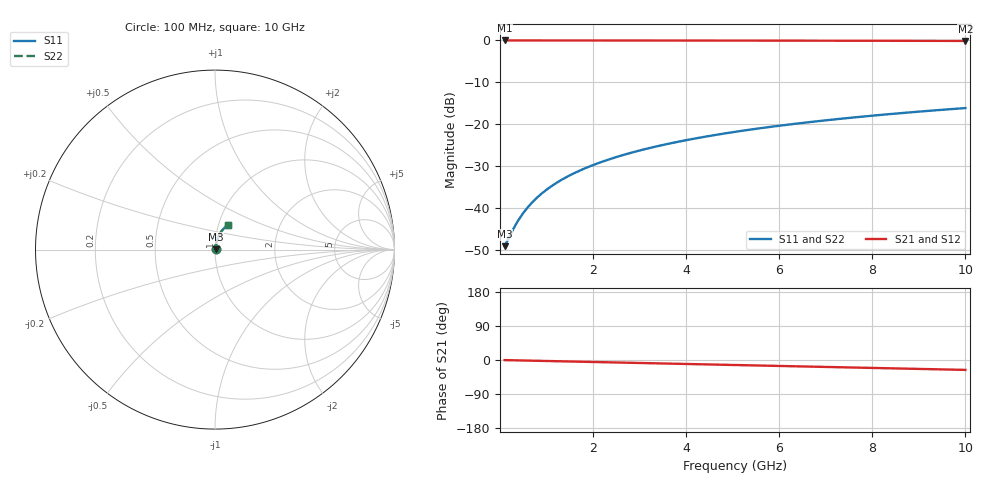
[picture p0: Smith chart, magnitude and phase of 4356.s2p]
# Hz S RI R 50.00
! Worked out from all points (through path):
!   100 points, 100 MHz to 10 GHz, reference 50 ohm
!   highest |S21| = -0.03 dB at 100 MHz (marker M1); lowest = -0.1 dB at 10 GHz (marker M2)
!   group delay of S21, straight-line fit = 7.26 ps
!   lowest |S11| = -49.2 dB at 100 MHz (marker M3), VSWR 1.01, Z = 50.3 + j0.161 ohm
!   |S11| at or under -10 dB: start of sweep to end of sweep
!   |S22| runs from -49.2 to -16.2 dB; largest |S21 - S12| = 0
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1e8  0.0031 0.0016  0.9969 -0.00456  0.9969 -0.00456  0.0031 0.0016
3e8  0.00319 0.0048  0.9968 -0.0137  0.9968 -0.0137  0.00319 0.0048
4e8  0.00325 0.0064  0.9967 -0.0182  0.9967 -0.0182  0.00325 0.0064
5e8  0.00333 0.008  0.9965 -0.0228  0.9965 -0.0228  0.00333 0.008
6e8  0.00342 0.0096  0.9964 -0.0273  0.9964 -0.0273  0.00342 0.0096
7e8  0.00352 0.0112  0.9962 -0.0319  0.9962 -0.0319  0.00352 0.0112
9e8  0.00376 0.0144  0.9959 -0.041  0.9959 -0.041  0.00376 0.0144
1e9  0.00391 0.016  0.9956 -0.0455  0.9956 -0.0455  0.00391 0.016
1.2e9  0.00424 0.0192  0.9951 -0.0546  0.9951 -0.0546  0.00424 0.0192
1.5e9  0.00485 0.0239  0.9941 -0.0683  0.9941 -0.0683  0.00485 0.0239
1.8e9  0.00558 0.0287  0.993 -0.0819  0.993 -0.0819  0.00558 0.0287
2.1e9  0.00644 0.0334  0.9916 -0.0955  0.9916 -0.0955  0.00644 0.0334
2.5e9  0.00779 0.0396  0.9894 -0.1135  0.9894 -0.1135  0.00779 0.0396
2.9e9  0.00937 0.0458  0.9869 -0.1316  0.9869 -0.1316  0.00937 0.0458
3.4e9  0.0117 0.0535  0.9832 -0.154  0.9832 -0.154  0.0117 0.0535
4.2e9  0.016 0.0655  0.9761 -0.1897  0.9761 -0.1897  0.016 0.0655
5.1e9  0.022 0.0785  0.9664 -0.2294  0.9664 -0.2294  0.022 0.0785
5.9e9  0.0281 0.0897  0.9563 -0.2642  0.9563 -0.2642  0.0281 0.0897
6.7e9  0.0351 0.1004  0.9449 -0.2984  0.9449 -0.2984  0.0351 0.1004
7.5e9  0.0428 0.1105  0.9321 -0.3322  0.9321 -0.3322  0.0428 0.1105
8.4e9  0.0523 0.1212  0.9161 -0.3694  0.9161 -0.3694  0.0523 0.1212
1e10  0.0712 0.1381  0.8839 -0.4333  0.8839 -0.4333  0.0712 0.1381
